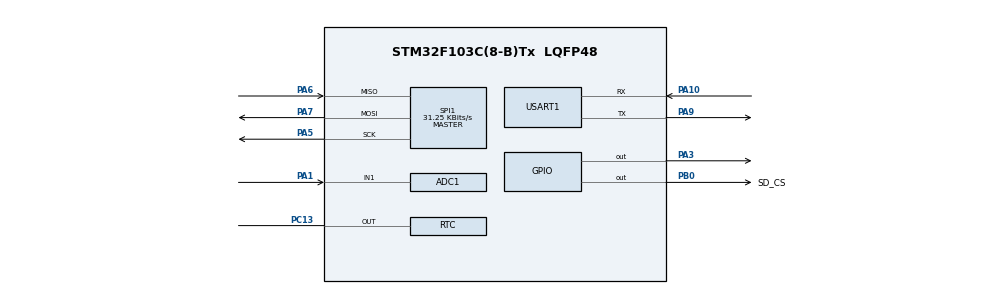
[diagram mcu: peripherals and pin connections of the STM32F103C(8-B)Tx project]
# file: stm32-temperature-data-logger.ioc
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ADC1.Channel-0\#ChannelRegularConversion=ADC_CHANNEL_1
ADC1.NbrOfConversionFlag=1
ADC1.Rank-0\#ChannelRegularConversion=1
ADC1.SamplingTime-0\#ChannelRegularConversion=ADC_SAMPLETIME_1CYCLE_5
ADC1.master=1
Mcu.Family=STM32F1
Mcu.Name=STM32F103C(8-B)Tx
Mcu.Package=LQFP48
NVIC.PriorityGroup=NVIC_PRIORITYGROUP_4
PA1.Signal=ADCx_IN1
PA10.Mode=Asynchronous
PA10.Signal=USART1_RX
PA3.Signal=GPIO_Output
PA5.Mode=Full_Duplex_Master
PA5.Signal=SPI1_SCK
PA6.Mode=Full_Duplex_Master
PA6.Signal=SPI1_MISO
PA7.Mode=Full_Duplex_Master
PA7.Signal=SPI1_MOSI
PA9.Mode=Asynchronous
PA9.Signal=USART1_TX
PB0.GPIO_Label=SD_CS
PB0.Signal=GPIO_Output
PC13-TAMPER-RTC.Mode=RTC OUT
PC13-TAMPER-RTC.Signal=RTC_OUT
ProjectManager.HeapSize=0x200
ProjectManager.StackSize=0x400
ProjectManager.TargetToolchain=STM32CubeIDE
RCC.APB1Freq_Value=8000000
RCC.APB2Freq_Value=8000000
SH.ADCx_IN1.0=ADC1_IN1,IN1
SPI1.BaudRatePrescaler=SPI_BAUDRATEPRESCALER_256
SPI1.CalculateBaudRate=31.25 KBits/s
SPI1.Direction=SPI_DIRECTION_2LINES
SPI1.Mode=SPI_MODE_MASTER
SPI1.VirtualType=VM_MASTER
USART1.VirtualMode=VM_ASYNC
VP_FATFS_VS_Generic.Mode=User_defined
VP_RTC_VS_RTC_Activate.Mode=RTC_Enabled
VP_RTC_VS_RTC_Calendar.Mode=RTC_Calendar
board=custom

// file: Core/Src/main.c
/* USER CODE BEGIN Header */
/**
  ******************************************************************************
  * @file           : main.c
  * @brief          : Main program body
  ******************************************************************************
  * @attention
  *
  * Copyright (c) 2023 STMicroelectronics.
  * All rights reserved.
  *
  * This software is licensed under terms that can be found in the LICENSE file
  * in the root directory of this software component.
  * If no LICENSE file comes with this software, it is provided AS-IS.
  *
  ******************************************************************************
  */
/* USER CODE END Header */
#include "main.h"
#include "fatfs.h"

/* USER CODE BEGIN Includes */
#include "NTC_THERMISTOR.h"
#include <stdio.h>
#include <string.h>
#include <stdarg.h> // for var_list and va_arg functions
#include <time.h>

/* USER CODE END Includes */

/* USER CODE BEGIN PTD */
char t[30];
char date[30];
RTC_TimeTypeDef sTime;
RTC_DateTypeDef sDate;

/* USER CODE END PTD */

ADC_HandleTypeDef hadc1;

RTC_HandleTypeDef hrtc;

SPI_HandleTypeDef hspi1;

UART_HandleTypeDef huart1;

/* USER CODE BEGIN PV */
NTC_Thermistor thermistor;  /* create an instance of thermistor */

/* USART1 message variables */
char data[50] = "";
float temp_value = 0.0;

/* USER CODE END PV */

void SystemClock_Config(void);
static void MX_GPIO_Init(void);
static void MX_ADC1_Init(void);
static void MX_USART1_UART_Init(void);
static void MX_SPI1_Init(void);
static void MX_RTC_Init(void);
/* USER CODE BEGIN PFP */
void myprintf(const char* fmt, ...);

/* USER CODE END PFP */

/* USER CODE BEGIN 0 */

void myprintf(const char* fmt, ...){
	static char buffer[256];
	va_list args;
	va_start(args, fmt);
	vsnprintf(buffer, sizeof(buffer), fmt, args);
	va_end(args);

	int len = strlen(buffer);
	HAL_UART_Transmit(&huart1, (uint8_t*)buffer, len, -1 );

}

/* USER CODE END 0 */

int main(void)
{

  /* MCU Configuration--------------------------------------------------------*/

  /* Reset of all peripherals, Initializes the Flash interface and the Systick. */
  HAL_Init();

  /* Configure the system clock */
  SystemClock_Config();

  /* USER CODE BEGIN SysInit */
  NTC_THERMISTOR_Initialize(&thermistor, &hadc1);

  /* USER CODE END SysInit */

  /* Initialize all configured peripherals */
  MX_GPIO_Init();
  MX_ADC1_Init();
  MX_USART1_UART_Init();
  MX_SPI1_Init();
  MX_FATFS_Init();
  MX_RTC_Init();

  /* USER CODE BEGIN 2 */

  HAL_Delay(1000); //a short delay is important to let the SD card settle

  //some variables for FatFs
  FATFS FatFs; 	//Fatfs handle
  FIL fil; 		//File handle
  FRESULT fres; //Result after operations
  BYTE readBuf[50];

  //Open the file system
  fres = f_mount(&FatFs, "", 1); //1=mount now
  if (fres != FR_OK) {
	myprintf("[-]f_mount error (%i)\r\n", fres);
	while(1);
  } else {
	  myprintf("[+] SD Card Init OK! \r\n");
  }

  /* USER CODE END 2 */

  /* Infinite loop */
  while (1)
  {

    /* USER CODE BEGIN 3 */

	/* get the current time */
	HAL_RTC_GetTime(&hrtc, &sTime, RTC_FORMAT_BIN);
	HAL_RTC_GetDate(&hrtc, &sDate, RTC_FORMAT_BIN);
//	sprintf(date,"Date: %02d.%02d.%02d\t",sDate.Date,sDate.Month,sDate.Year);
//	sprintf(t,"Time: %02d.%02d.%02d\r\n",sTime.Hours,sTime.Minutes,sTime.Seconds);

	/* Read temperature from thermistor */
	NTC_THERMISTOR_ReadTemperature(&thermistor);

	/* store the value read from NTC thermistor into data array */
	temp_value = thermistor.tempC;
	sprintf(data, "%02d.%02d.%02d, %02d.%02d.%02d, %.2f\r\n", sDate.Date,sDate.Month,sDate.Year, sTime.Hours,sTime.Minutes,sTime.Seconds, temp_value);

	/* write data to file */

	/* open file for writing */
	UINT bytesWrote;
	fres = f_open(&fil, "temp.log", FA_WRITE | FA_OPEN_ALWAYS);

	// move file pointer to the end of file to append - this FatFS version has no FA_OPEN_APPEND
	f_lseek(&fil, f_size(&fil));

	if(fres == FR_OK) {
		//continue;
		myprintf("[+]Open success\r\n");
	} else {
		myprintf("[-]f_open error (%i)\r\n", fres);
	}

	/* Copy in a string */
	strncpy((char*)readBuf, data, 60);

	fres = f_write(&fil, readBuf, 60, &bytesWrote);

	if(fres == FR_OK) {
		myprintf("[+]Wrote %i bytes to 'temp.log'!\r\n", bytesWrote);
		//continue;
	} else {
		//myprintf("[-]Error writing to file");
		myprintf("[-]f_write error (%i)\r\n", fres);
	}

	// close your file!
	f_close(&fil);

	/* send data over USART1 */
	HAL_UART_Transmit(&huart1, (uint8_t*) data, sizeof(data), 1000);

	HAL_Delay(100);

  }

  /* USER CODE END 3 */
}

void SystemClock_Config(void)
{
  RCC_OscInitTypeDef RCC_OscInitStruct = {0};
  RCC_ClkInitTypeDef RCC_ClkInitStruct = {0};
  RCC_PeriphCLKInitTypeDef PeriphClkInit = {0};

  /** Initializes the RCC Oscillators according to the specified parameters
  * in the RCC_OscInitTypeDef structure.
  */
  RCC_OscInitStruct.OscillatorType = RCC_OSCILLATORTYPE_HSI|RCC_OSCILLATORTYPE_LSI;
  RCC_OscInitStruct.HSIState = RCC_HSI_ON;
  RCC_OscInitStruct.HSICalibrationValue = RCC_HSICALIBRATION_DEFAULT;
  RCC_OscInitStruct.LSIState = RCC_LSI_ON;
  RCC_OscInitStruct.PLL.PLLState = RCC_PLL_NONE;
  if (HAL_RCC_OscConfig(&RCC_OscInitStruct) != HAL_OK)
  {
    Error_Handler();
  }

  /** Initializes the CPU, AHB and APB buses clocks
  */
  RCC_ClkInitStruct.ClockType = RCC_CLOCKTYPE_HCLK|RCC_CLOCKTYPE_SYSCLK
                              |RCC_CLOCKTYPE_PCLK1|RCC_CLOCKTYPE_PCLK2;
  RCC_ClkInitStruct.SYSCLKSource = RCC_SYSCLKSOURCE_HSI;
  RCC_ClkInitStruct.AHBCLKDivider = RCC_SYSCLK_DIV1;
  RCC_ClkInitStruct.APB1CLKDivider = RCC_HCLK_DIV1;
  RCC_ClkInitStruct.APB2CLKDivider = RCC_HCLK_DIV1;

  if (HAL_RCC_ClockConfig(&RCC_ClkInitStruct, FLASH_LATENCY_0) != HAL_OK)
  {
    Error_Handler();
  }
  PeriphClkInit.PeriphClockSelection = RCC_PERIPHCLK_RTC|RCC_PERIPHCLK_ADC;
  PeriphClkInit.RTCClockSelection = RCC_RTCCLKSOURCE_LSI;
  PeriphClkInit.AdcClockSelection = RCC_ADCPCLK2_DIV2;
  if (HAL_RCCEx_PeriphCLKConfig(&PeriphClkInit) != HAL_OK)
  {
    Error_Handler();
  }
}

static void MX_ADC1_Init(void)
{

  ADC_ChannelConfTypeDef sConfig = {0};

  /** Common config
  */
  hadc1.Instance = ADC1;
  hadc1.Init.ScanConvMode = ADC_SCAN_DISABLE;
  hadc1.Init.ContinuousConvMode = DISABLE;
  hadc1.Init.DiscontinuousConvMode = DISABLE;
  hadc1.Init.ExternalTrigConv = ADC_SOFTWARE_START;
  hadc1.Init.DataAlign = ADC_DATAALIGN_RIGHT;
  hadc1.Init.NbrOfConversion = 1;
  if (HAL_ADC_Init(&hadc1) != HAL_OK)
  {
    Error_Handler();
  }

  /** Configure Regular Channel
  */
  sConfig.Channel = ADC_CHANNEL_1;
  sConfig.Rank = ADC_REGULAR_RANK_1;
  sConfig.SamplingTime = ADC_SAMPLETIME_1CYCLE_5;
  if (HAL_ADC_ConfigChannel(&hadc1, &sConfig) != HAL_OK)
  {
    Error_Handler();
  }

}

static void MX_RTC_Init(void)
{

  RTC_TimeTypeDef sTime = {0};
//  RTC_TimeTypeDef sDate = {0};
  RTC_DateTypeDef DateToUpdate = {0};
  RTC_AlarmTypeDef sAlarm = {0};

  /** Initialize RTC Only
  */
  hrtc.Instance = RTC;
  hrtc.Init.AsynchPrediv = RTC_AUTO_1_SECOND;
  hrtc.Init.OutPut = RTC_OUTPUTSOURCE_ALARM;
  if (HAL_RTC_Init(&hrtc) != HAL_OK)
  {
    Error_Handler();
  }

  /** Initialize RTC and set the Time and Date
  */

  sTime.Hours = 0x04;
  sTime.Minutes = 0x27;
  sTime.Seconds = 0x00;

  if (HAL_RTC_SetTime(&hrtc, &sTime, RTC_FORMAT_BCD) != HAL_OK)
  {
    Error_Handler();
  }
  DateToUpdate.WeekDay = RTC_WEEKDAY_SATURDAY;
  DateToUpdate.Month = RTC_MONTH_SEPTEMBER;
  DateToUpdate.Date = 0x09;
  DateToUpdate.Year = 0x23;

  if (HAL_RTC_SetDate(&hrtc, &DateToUpdate, RTC_FORMAT_BCD) != HAL_OK)
  {
    Error_Handler();
  }

  /** Enable the Alarm A
  */
  sAlarm.AlarmTime.Hours = 0x0;
  sAlarm.AlarmTime.Minutes = 0x0;
  sAlarm.AlarmTime.Seconds = 0x0;
  sAlarm.Alarm = RTC_ALARM_A;
  if (HAL_RTC_SetAlarm(&hrtc, &sAlarm, RTC_FORMAT_BCD) != HAL_OK)
  {
    Error_Handler();
  }

}

static void MX_SPI1_Init(void)
{

  /* SPI1 parameter configuration*/
  hspi1.Instance = SPI1;
  hspi1.Init.Mode = SPI_MODE_MASTER;
  hspi1.Init.Direction = SPI_DIRECTION_2LINES;
  hspi1.Init.DataSize = SPI_DATASIZE_8BIT;
  hspi1.Init.CLKPolarity = SPI_POLARITY_LOW;
  hspi1.Init.CLKPhase = SPI_PHASE_1EDGE;
  hspi1.Init.NSS = SPI_NSS_SOFT;
  hspi1.Init.BaudRatePrescaler = SPI_BAUDRATEPRESCALER_256;
  hspi1.Init.FirstBit = SPI_FIRSTBIT_MSB;
  hspi1.Init.TIMode = SPI_TIMODE_DISABLE;
  hspi1.Init.CRCCalculation = SPI_CRCCALCULATION_DISABLE;
  hspi1.Init.CRCPolynomial = 10;
  if (HAL_SPI_Init(&hspi1) != HAL_OK)
  {
    Error_Handler();
  }

}

static void MX_USART1_UART_Init(void)
{

  huart1.Instance = USART1;
  huart1.Init.BaudRate = 115200;
  huart1.Init.WordLength = UART_WORDLENGTH_8B;
  huart1.Init.StopBits = UART_STOPBITS_1;
  huart1.Init.Parity = UART_PARITY_NONE;
  huart1.Init.Mode = UART_MODE_TX_RX;
  huart1.Init.HwFlowCtl = UART_HWCONTROL_NONE;
  huart1.Init.OverSampling = UART_OVERSAMPLING_16;
  if (HAL_UART_Init(&huart1) != HAL_OK)
  {
    Error_Handler();
  }

}

static void MX_GPIO_Init(void)
{
  GPIO_InitTypeDef GPIO_InitStruct = {0};

  /* GPIO Ports Clock Enable */
  __HAL_RCC_GPIOC_CLK_ENABLE();
  __HAL_RCC_GPIOA_CLK_ENABLE();
  __HAL_RCC_GPIOB_CLK_ENABLE();

  /*Configure GPIO pin Output Level */
  HAL_GPIO_WritePin(GPIOA, GPIO_PIN_3, GPIO_PIN_RESET);

  /*Configure GPIO pin Output Level */
  HAL_GPIO_WritePin(SD_CS_GPIO_Port, SD_CS_Pin, GPIO_PIN_RESET);

  /*Configure GPIO pin : PA3 */
  GPIO_InitStruct.Pin = GPIO_PIN_3;
  GPIO_InitStruct.Mode = GPIO_MODE_OUTPUT_PP;
  GPIO_InitStruct.Pull = GPIO_NOPULL;
  GPIO_InitStruct.Speed = GPIO_SPEED_FREQ_LOW;
  HAL_GPIO_Init(GPIOA, &GPIO_InitStruct);

  /*Configure GPIO pin : SD_CS_Pin */
  GPIO_InitStruct.Pin = SD_CS_Pin;
  GPIO_InitStruct.Mode = GPIO_MODE_OUTPUT_PP;
  GPIO_InitStruct.Pull = GPIO_NOPULL;
  GPIO_InitStruct.Speed = GPIO_SPEED_FREQ_LOW;
  HAL_GPIO_Init(SD_CS_GPIO_Port, &GPIO_InitStruct);

}

void Error_Handler(void)
{
  __disable_irq();
  while (1)
  {
  }
}
